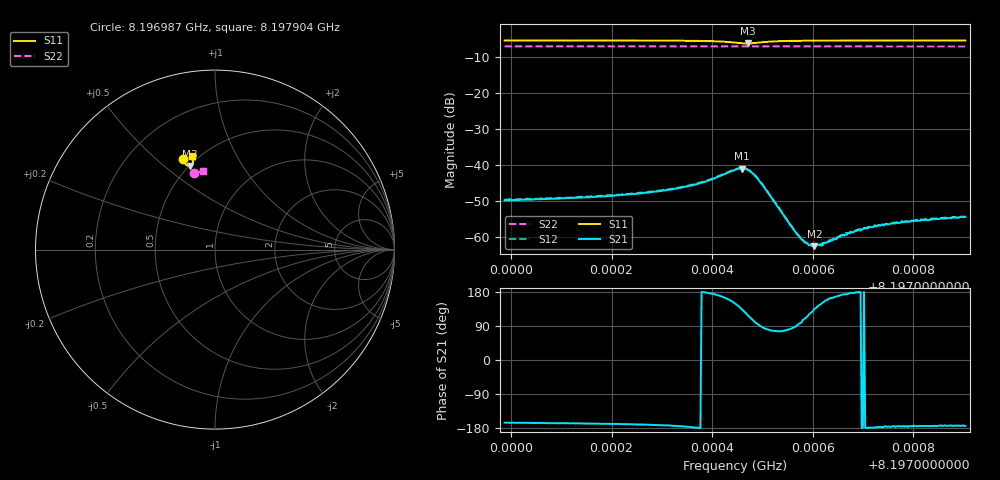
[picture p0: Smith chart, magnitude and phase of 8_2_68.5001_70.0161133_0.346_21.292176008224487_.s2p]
#  HZ  S  RI  R  50.00
! Rohde & Schwarz Vector Network Analyzer
! Rohde-Schwarz,ZNB20-2Port,1311601062101988,3.16
! Created: UTC 3/20/2024, 4:48:54 PM
! freq[Hz]  re:S11  im:S11  re:S21  im:S21  re:S12  im:S12  re:S22  im:S22
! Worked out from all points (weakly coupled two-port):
!   401 points, 8.196987 GHz to 8.197904 GHz, reference 50 ohm
!   highest |S21| = -41.06 dB at 8.197459 GHz (marker M1); lowest = -62.7 dB at 8.197604 GHz (marker M2)
!   lowest |S11| = -6.3 dB at 8.197471 GHz (marker M3), VSWR 2.90, Z = 25.2 + j30.7 ohm
!   |S11| at or under -10 dB: nowhere
!   |S22| runs from -7.1 to -7.0 dB; largest |S21 - S12| = 0.00045
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8.1969874e9  -0.1801 0.5049  -0.00311 -0.000805  -0.0032 -0.000685  -0.1152 0.4288
8.1971409e9  -0.1679 0.5085  -0.00341 -0.000746  -0.00354 -0.000662  -0.1069 0.4307
8.1972211e9  -0.1606 0.5103  -0.00374 -0.000723  -0.00384 -0.000565  -0.1023 0.4315
8.1972944e9  -0.1528 0.5113  -0.00425 -0.000615  -0.00435 -0.000411  -0.0983 0.4324
8.19737e9  -0.1405 0.5103  -0.00537 -0.000131  -0.00547 0.000106  -0.0939 0.4331
8.1974043e9  -0.1318 0.5062  -0.0064 0.000712  -0.00649 0.00102  -0.0919 0.4334
8.1974456e9  -0.1226 0.4853  -0.00732 0.00435  -0.00725 0.00474  -0.0894 0.4333
8.1974593e9  -0.1284 0.4729  -0.00615 0.00637  -0.00596 0.00674  -0.089 0.433
8.1974708e9  -0.14 0.4661  -0.00406 0.00746  -0.00381 0.00773  -0.0886 0.433
8.1974822e9  -0.1533 0.4674  -0.00176 0.0072  -0.00148 0.00738  -0.0883 0.4332
8.197496e9  -0.1636 0.4761  3.92e-05 0.00573  0.00026 0.00587  -0.0878 0.4335
8.1975578e9  -0.1612 0.504  0.000179 0.00139  0.000206 0.0014  -0.0843 0.4349
8.1975738e9  -0.1586 0.5066  -0.000117 0.000987  -9.33e-05 0.000976  -0.0833 0.4351
8.1975853e9  -0.1569 0.5081  -0.00028 0.000776  -0.000271 0.000784  -0.0829 0.4353
8.197599e9  -0.1548 0.5097  -0.000444 0.000589  -0.000473 0.000614  -0.0819 0.4352
8.1976036e9  -0.1542 0.5101  -0.000522 0.000519  -0.000483 0.000579  -0.0816 0.4353
8.1976174e9  -0.1523 0.5112  -0.000642 0.000385  -0.000679 0.00041  -0.0809 0.4355
8.1976563e9  -0.1477 0.5135  -0.00103 0.000164  -0.00102 0.000187  -0.0789 0.436
8.197693e9  -0.1439 0.5151  -0.00124 1.14e-05  -0.00128 6.76e-05  -0.0766 0.4361
8.1977525e9  -0.1383 0.5172  -0.00148 -0.000116  -0.00152 -2.9e-05  -0.0732 0.4366
8.1978121e9  -0.1332 0.5187  -0.00166 -0.000177  -0.00172 -0.0001  -0.0699 0.4372
8.1979037e9  -0.1258 0.5204  -0.00188 -0.000209  -0.00192 -0.000164  -0.0647 0.4377
